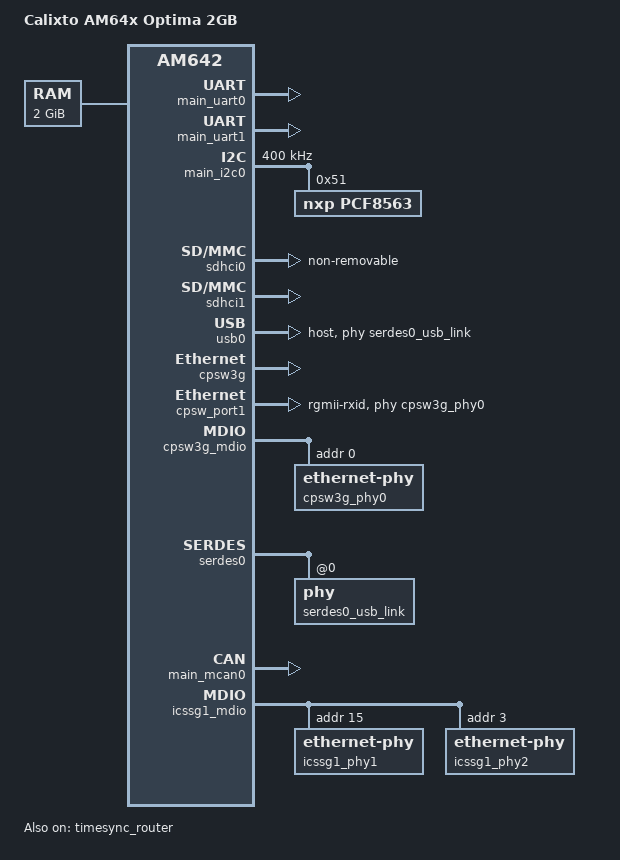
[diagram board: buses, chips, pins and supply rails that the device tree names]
// SPDX-License-Identifier: GPL-2.0-only OR MIT
/*
 * Copyright (C) Calixto Systems Pvt Ltd.
 */

/dts-v1/;

#include <dt-bindings/phy/phy.h>
#include <dt-bindings/leds/common.h>
#include <dt-bindings/gpio/gpio.h>
#include <dt-bindings/net/ti-dp83867.h>
#include "k3-am642.dtsi"

#include "k3-serdes.h"
#include "k3-timesync-router.h"

/ {
	compatible = "calixto,am64x-optima-2gb", "ti,am642";
        model = "Calixto AM64x Optima 2GB";

	chosen {
		stdout-path = &main_uart0;
	};

	aliases {
		serial0 = &mcu_uart0;
		serial1 = &main_uart1;
		serial2 = &main_uart0;
		i2c0 = &main_i2c0;
		mmc0 = &sdhci0;
		mmc1 = &sdhci1;
		ethernet0 = &cpsw_port1;
                ethernet1 = &icssg1_emac0;
                ethernet2 = &icssg1_emac1;
	};

	memory@80000000 {
		bootph-all;
		device_type = "memory";
		/* 2G RAM */
		reg = <0x00000000 0x80000000 0x00000000 0x80000000>;
	};

	reserved_memory: reserved-memory {
		#address-cells = <2>;
		#size-cells = <2>;
		ranges;

		secure_ddr: optee@9e800000 {
			reg = <0x00 0x9e800000 0x00 0x01800000>; /* for OP-TEE */
			alignment = <0x1000>;
			no-map;
		};

		main_r5fss0_core0_dma_memory_region: memory@a0000000 {
			compatible = "shared-dma-pool";
			reg = <0x00 0xa0000000 0x00 0x100000>;
			no-map;
		};

		main_r5fss0_core0_memory_region: memory@a0100000 {
			compatible = "shared-dma-pool";
			reg = <0x00 0xa0100000 0x00 0xf00000>;
			no-map;
		};
	};


	icssg1_eth: icssg1-eth {
		compatible = "ti,am642-icssg-prueth";
		pinctrl-names = "default";
		pinctrl-0 = <&icssg1_rgmii1_pins_default>, <&icssg1_rgmii2_pins_default>;
		sram = <&oc_sram>;
		ti,prus = <&pru1_0>, <&rtu1_0>, <&tx_pru1_0>, <&pru1_1>, <&rtu1_1>, <&tx_pru1_1>;
		firmware-name = "ti-pruss/am64x-sr2-pru0-prueth-fw.elf",
				"ti-pruss/am64x-sr2-rtu0-prueth-fw.elf",
				"ti-pruss/am64x-sr2-txpru0-prueth-fw.elf",
				"ti-pruss/am64x-sr2-pru1-prueth-fw.elf",
				"ti-pruss/am64x-sr2-rtu1-prueth-fw.elf",
				"ti-pruss/am64x-sr2-txpru1-prueth-fw.elf";

		ti,pruss-gp-mux-sel = <2>,	/* MII mode */
				      <2>,
				      <2>,
				      <2>,	/* MII mode */
				      <2>,
				      <2>;
		ti,mii-g-rt = <&icssg1_mii_g_rt>;
		ti,mii-rt = <&icssg1_mii_rt>;
		ti,iep = <&icssg1_iep0>,  <&icssg1_iep1>;
		ti,pa-stats = <&icssg1_pa_stats>;
		interrupt-parent = <&icssg1_intc>;
		interrupts = <24 0 2>, <25 1 3>;
		interrupt-names = "tx_ts0", "tx_ts1";
		dmas = <&main_pktdma 0xc200 15>, /* egress slice 0 */
		       <&main_pktdma 0xc201 15>, /* egress slice 0 */
		       <&main_pktdma 0xc202 15>, /* egress slice 0 */
		       <&main_pktdma 0xc203 15>, /* egress slice 0 */
		       <&main_pktdma 0xc204 15>, /* egress slice 1 */
		       <&main_pktdma 0xc205 15>, /* egress slice 1 */
		       <&main_pktdma 0xc206 15>, /* egress slice 1 */
		       <&main_pktdma 0xc207 15>, /* egress slice 1 */
		       <&main_pktdma 0x4200 15>, /* ingress slice 0 */
		       <&main_pktdma 0x4201 15>; /* ingress slice 1 */
		dma-names = "tx0-0", "tx0-1", "tx0-2", "tx0-3",
			    "tx1-0", "tx1-1", "tx1-2", "tx1-3",
			    "rx0", "rx1";

		ethernet-ports {
			#address-cells = <1>;
			#size-cells = <0>;
			icssg1_emac0: port@0 {
				reg = <0>;
				phy-handle = <&icssg1_phy1>;
				phy-mode = "rgmii-id";
				/* Filled in by bootloader */
				local-mac-address = [00 00 00 00 00 00];
			};
			icssg1_emac1: port@1 {
				reg = <1>;
				phy-handle = <&icssg1_phy2>;
				phy-mode = "rgmii-id";
				local-mac-address = [00 00 00 00 00 00];
			};
		};
	};
};

&main_pmx0 {
	main_mmc1_pins_default: main-mmc1-default-pins {
		pinctrl-single,pins = <
			AM64X_IOPAD(0x0294, PIN_INPUT_PULLUP, 0) /* (J19) MMC1_CMD */
			AM64X_IOPAD(0x028c, PIN_OUTPUT, 0) /* (L20) MMC1_CLK */
			AM64X_IOPAD(0x0288, PIN_INPUT_PULLUP, 0) /* (K21) MMC1_DAT0 */
			AM64X_IOPAD(0x0284, PIN_INPUT_PULLUP, 0) /* (L21) MMC1_DAT1 */
			AM64X_IOPAD(0x0280, PIN_INPUT_PULLUP, 0) /* (K19) MMC1_DAT2 */
			AM64X_IOPAD(0x027c, PIN_INPUT_PULLUP, 0) /* (K18) MMC1_DAT3 */
			AM64X_IOPAD(0x0298, PIN_INPUT, 0) /* (D19) MMC1_SDCD */
			AM64X_IOPAD(0x029c, PIN_INPUT, 0) /* (C20) MMC1_SDWP */
		>;
	};

	main_uart1_pins_default: main-uart1-default-pins {
		pinctrl-single,pins = <
			AM64X_IOPAD(0x0240, PIN_INPUT, 0)		/* (E15) UART1_RXD */
			AM64X_IOPAD(0x0244, PIN_OUTPUT, 0)		/* (E14) UART1_TXD */
		>;
	};

	main_uart0_pins_default: main-uart0-default-pins {
		bootph-all;
		pinctrl-single,pins = <
			AM64X_IOPAD(0x0230, PIN_INPUT, 0) /* (D15) UART0_RXD */
			AM64X_IOPAD(0x0234, PIN_OUTPUT, 0) /* (C16) UART0_TXD */
		>;
	};


	main_i2c0_pins_default: main-i2c0-default-pins {
		bootph-all;
		pinctrl-single,pins = <
			AM64X_IOPAD(0x0260, PIN_INPUT_PULLUP, 0) /* (A18) I2C0_SCL */
			AM64X_IOPAD(0x0264, PIN_INPUT_PULLUP, 0) /* (B18) I2C0_SDA */
		>;
	};


	mdio1_pins_default: mdio1-default-pins {
		bootph-all;
		pinctrl-single,pins = <
			AM64X_IOPAD(0x01fc, PIN_OUTPUT, 4) /* (R2) PRG0_PRU1_GPO19.MDIO0_MDC */
			AM64X_IOPAD(0x01f8, PIN_INPUT, 4) /* (P5) PRG0_PRU1_GPO18.MDIO0_MDIO */
		>;
	};

	rgmii1_pins_default: rgmii1-default-pins {
		bootph-all;
		pinctrl-single,pins = <
			AM64X_IOPAD(0x01cc, PIN_INPUT, 4) /* (W5) PRG0_PRU1_GPO7.RGMII1_RD0 */
			AM64X_IOPAD(0x01d4, PIN_INPUT, 4) /* (Y5) PRG0_PRU1_GPO9.RGMII1_RD1 */
			AM64X_IOPAD(0x01d8, PIN_INPUT, 4) /* (V6) PRG0_PRU1_GPO10.RGMII1_RD2 */
			AM64X_IOPAD(0x01f4, PIN_INPUT, 4) /* (V5) PRG0_PRU1_GPO17.RGMII1_RD3 */
			AM64X_IOPAD(0x0188, PIN_INPUT, 4) /* (AA5) PRG0_PRU0_GPO10.RGMII1_RXC */
			AM64X_IOPAD(0x0184, PIN_INPUT, 4) /* (W6) PRG0_PRU0_GPO9.RGMII1_RX_CTL */
			AM64X_IOPAD(0x0124, PIN_OUTPUT, 4) /* (V15) PRG1_PRU1_GPO7.RGMII1_TD0 */
			AM64X_IOPAD(0x012c, PIN_OUTPUT, 4) /* (V14) PRG1_PRU1_GPO9.RGMII1_TD1 */
			AM64X_IOPAD(0x0130, PIN_OUTPUT, 4) /* (W14) PRG1_PRU1_GPO10.RGMII1_TD2 */
			AM64X_IOPAD(0x014c, PIN_OUTPUT, 4) /* (AA14) PRG1_PRU1_GPO17.RGMII1_TD3 */
			AM64X_IOPAD(0x00e0, PIN_OUTPUT, 4) /* (U14) PRG1_PRU0_GPO10.RGMII1_TXC */
			AM64X_IOPAD(0x00dc, PIN_OUTPUT, 4) /* (U15) PRG1_PRU0_GPO9.RGMII1_TX_CTL */
		>;
	};

	icssg1_rgmii2_pins_default: icssg1-rgmii2-default-pins {
		pinctrl-single,pins = <
			AM64X_IOPAD(0x0108, PIN_INPUT, 2) /* (W11) PRG1_PRU1_GPO0.RGMII2_RD0 */
			AM64X_IOPAD(0x010c, PIN_INPUT, 2) /* (V11) PRG1_PRU1_GPO1.RGMII2_RD1 */
			AM64X_IOPAD(0x0110, PIN_INPUT, 2) /* (AA12) PRG1_PRU1_GPO2.RGMII2_RD2 */
			AM64X_IOPAD(0x0114, PIN_INPUT, 2) /* (Y12) PRG1_PRU1_GPO3.RGMII2_RD3 */
			AM64X_IOPAD(0x0120, PIN_INPUT, 2) /* (U11) PRG1_PRU1_GPO6.RGMII2_RXC */
			AM64X_IOPAD(0x0118, PIN_INPUT, 2) /* (W12) PRG1_PRU1_GPO4.RGMII2_RX_CTL */
			AM64X_IOPAD(0x0134, PIN_OUTPUT, 2) /* (AA10) PRG1_PRU1_GPO11.RGMII2_TD0 */
			AM64X_IOPAD(0x0138, PIN_OUTPUT, 2) /* (V10) PRG1_PRU1_GPO12.RGMII2_TD1 */
			AM64X_IOPAD(0x013c, PIN_OUTPUT, 2) /* (U10) PRG1_PRU1_GPO13.RGMII2_TD2 */
			AM64X_IOPAD(0x0140, PIN_OUTPUT, 2) /* (AA11) PRG1_PRU1_GPO14.RGMII2_TD3 */
			AM64X_IOPAD(0x0148, PIN_OUTPUT, 2) /* (Y10) PRG1_PRU1_GPO16.RGMII2_TXC */
			AM64X_IOPAD(0x0144, PIN_OUTPUT, 2) /* (Y11) PRG1_PRU1_GPO15.RGMII2_TX_CTL */
		>;
	};

	main_usb0_pins_default: main-usb0-default-pins {
		bootph-all;
		pinctrl-single,pins = <
			AM64X_IOPAD(0x02a8, PIN_OUTPUT, 0) /* (E19) USB0_DRVVBUS */
		>;
	};



	main_mcan0_pins_default: main-mcan0-default-pins {
		pinctrl-single,pins = <
			AM64X_IOPAD(0x0254, PIN_INPUT, 0) /* (B17) MCAN0_RX */
			AM64X_IOPAD(0x0250, PIN_OUTPUT, 0) /* (A17) MCAN0_TX */
		>;
	};



	icssg1_mdio1_pins_default: icssg1-mdio1-default-pins {
		pinctrl-single,pins = <
			AM64X_IOPAD(0x015c, PIN_OUTPUT, 0) /* (Y6) PRG1_MDIO0_MDC */
			AM64X_IOPAD(0x0158, PIN_INPUT, 0) /* (AA6) PRG1_MDIO0_MDIO */
		>;
	};

	icssg1_rgmii1_pins_default: icssg1-rgmii1-default-pins {
		pinctrl-single,pins = <
			AM64X_IOPAD(0x00b8, PIN_INPUT, 2) /* (Y7) PRG1_PRU0_GPO0.PRG1_RGMII1_RD0 */
			AM64X_IOPAD(0x00bc, PIN_INPUT, 2) /* (U8) PRG1_PRU0_GPO1.PRG1_RGMII1_RD1 */
			AM64X_IOPAD(0x00c0, PIN_INPUT, 2) /* (W8) PRG1_PRU0_GPO2.PRG1_RGMII1_RD2 */
			AM64X_IOPAD(0x00c4, PIN_INPUT, 2) /* (V8) PRG1_PRU0_GPO3.PRG1_RGMII1_RD3 */
			AM64X_IOPAD(0x00d0, PIN_INPUT, 2) /* (AA7) PRG1_PRU0_GPO6.PRG1_RGMII1_RXC */
			AM64X_IOPAD(0x00c8, PIN_INPUT, 2) /* (Y8) PRG1_PRU0_GPO4.PRG1_RGMII1_RX_CTL */
			AM64X_IOPAD(0x00e4, PIN_INPUT, 2) /* (AA8) PRG1_PRU0_GPO11.PRG1_RGMII1_TD0 */
			AM64X_IOPAD(0x00e8, PIN_INPUT, 2) /* (U9) PRG1_PRU0_GPO12.PRG1_RGMII1_TD1 */
			AM64X_IOPAD(0x00ec, PIN_INPUT, 2) /* (W9) PRG1_PRU0_GPO13.PRG1_RGMII1_TD2 */
			AM64X_IOPAD(0x00f0, PIN_INPUT, 2) /* (AA9) PRG1_PRU0_GPO14.PRG1_RGMII1_TD3 */
			AM64X_IOPAD(0x00f8, PIN_INPUT, 2) /* (V9) PRG1_PRU0_GPO16.PRG1_RGMII1_TXC */
			AM64X_IOPAD(0x00f4, PIN_INPUT, 2) /* (Y9) PRG1_PRU0_GPO15.PRG1_RGMII1_TX_CTL */
		>;
	};

	icssg1_iep0_pins_default: icssg1-iep0-default-pins {
		pinctrl-single,pins = <
			AM64X_IOPAD(0x0104, PIN_OUTPUT, 2) /* (W7) PRG1_PRU0_GPO19.PRG1_IEP0_EDC_SYNC_OUT0 */
		>;
	};
};

&main_uart0 {
	bootph-all;
	status = "okay";
	pinctrl-names = "default";
	pinctrl-0 = <&main_uart0_pins_default>;
};

/* RS485 ST4485EBDR  */
&main_uart1 {
	status = "okay";
	pinctrl-names = "default";
	pinctrl-0 = <&main_uart1_pins_default>;
};

&main_i2c0 {
	bootph-all;
	status = "okay";
	pinctrl-names = "default";
	pinctrl-0 = <&main_i2c0_pins_default>;
	clock-frequency = <400000>;

	pcf8563@51 { /* External RTC */
            compatible = "nxp,pcf8563";
            reg = <0x51>;
        };
};


&main_gpio0 {
	bootph-all;
};

/* eMMC */
&sdhci0 {
	status = "okay";
	non-removable;
	ti,driver-strength-ohm = <50>;
	bootph-all;
};

/* SD/MMC */
&sdhci1 {
	bootph-all;
	status = "okay";
	pinctrl-names = "default";
	pinctrl-0 = <&main_mmc1_pins_default>;
	no-1-8-v;
	sdhci-caps-mask = <0x00000007 0x00000000>;      /* SD HS max, no UHS (TI E2E 1174254) */
	disable-wp;
};

&usbss0 {
	bootph-all;
};

&usb0 {
	bootph-all;
	dr_mode = "host";
	maximum-speed = "super-speed";
	pinctrl-names = "default";
	pinctrl-0 = <&main_usb0_pins_default>;
	phys = <&serdes0_usb_link>;
	phy-names = "cdns3,usb3-phy";
};

&cpsw3g {
	bootph-all;
	pinctrl-names = "default";
	pinctrl-0 = <&rgmii1_pins_default>;
	status = "okay";

	/* Map HW8 TS_PUSH to GENF1 */
	cpts@3d000 {
		ti,pps = <7 1>;
	};
};

&cpsw_port1 {
	bootph-all;
	phy-mode = "rgmii-rxid";
	phy-handle = <&cpsw3g_phy0>;
	status = "okay";
};

&cpsw_port2 {
	//phy-mode = "rgmii-rxid";
	//phy-handle = <&cpsw3g_phy3>;
	status = "disabled";
};

&cpsw3g_mdio {
	bootph-all;
	status = "okay";
	pinctrl-names = "default";
	pinctrl-0 = <&mdio1_pins_default>;

	cpsw3g_phy0: ethernet-phy@0 {
		bootph-all;
		reg = <0>;
		ti,rx-internal-delay = <DP83867_RGMIIDCTL_2_00_NS>;
		ti,fifo-depth = <DP83867_PHYCR_FIFO_DEPTH_4_B_NIB>;
	};
};

&serdes_ln_ctrl {
	idle-states = <AM64_SERDES0_LANE0_USB>;
};

&serdes0 {
        serdes0_usb_link: phy@0 {
                reg = <0>;
                cdns,num-lanes = <1>;
                #phy-cells = <0>;
                cdns,phy-type = <PHY_TYPE_USB3>;
                resets = <&serdes_wiz0 1>;
        };
};

&main_mcan0 {
	status = "okay";
	pinctrl-names = "default";
	pinctrl-0 = <&main_mcan0_pins_default>;
};

&icssg1_mdio {
	status = "okay";
	pinctrl-names = "default";
	pinctrl-0 = <&icssg1_mdio1_pins_default>;

	icssg1_phy1: ethernet-phy@f {
		reg = <0xf>;
		tx-internal-delay-ps = <250>;
		rx-internal-delay-ps = <2000>;
	};
	
        icssg1_phy2: ethernet-phy@3 {
                reg = <3>;
                tx-internal-delay-ps = <250>;
                rx-internal-delay-ps = <2000>;
        };

};


&icssg1_iep0 {
	pinctrl-names = "default";
	pinctrl-0 = <&icssg1_iep0_pins_default>;
};

&timesync_router {
	/* Use Time Sync Router to map GENF1 input to HW8_TS_PUSH output. */
	mux-reg-mask-val = <
		/* pps [cpts genf1] in22 -> out37 [cpts hw8_push] */
		K3_TS_OFFSET(37, 0x0001ffff, 22)
		/* iep-pps [iep sync_out0] in29 -> out23 [navss cpts hw8_push] */
		K3_TS_OFFSET(23, 0x0001ffff, 29)
		>;
	idle-states = <0x1 0x1>;
	status = "okay";
};

&main_cpts0 {
	/*
	 * Use HW8_TS_PUSH of NAVSS CPTS to generate events for IEP PPS
	 * signal (PRGx_IEP0_EDC_SYNC_OUT0)
	 */
	ti,pps = <7 1>;
};

#include "k3-am64-ti-ipc-firmware.dtsi"
